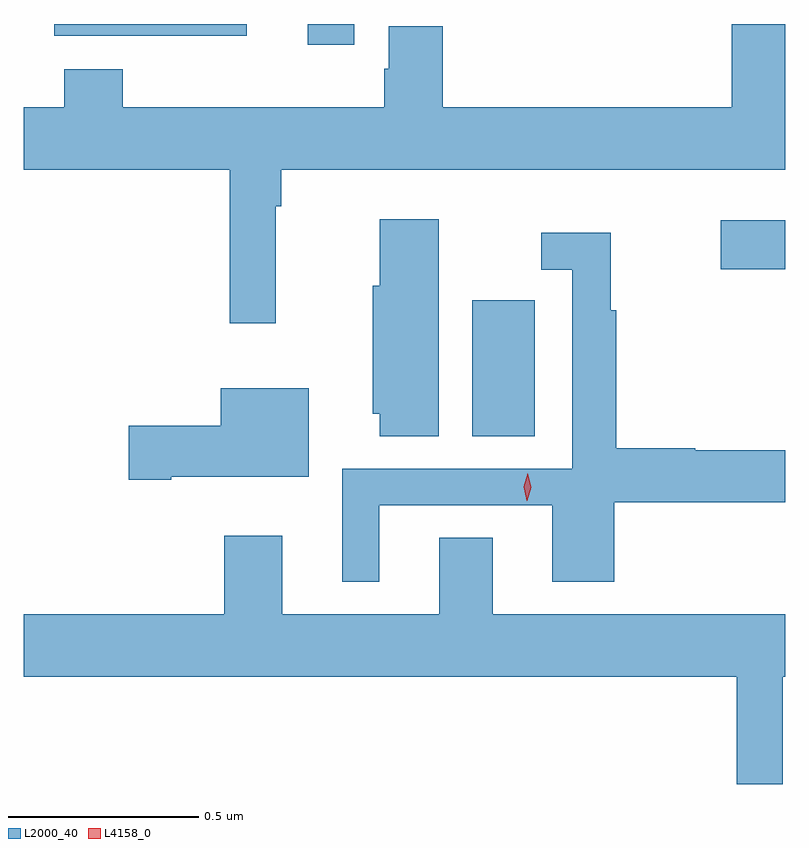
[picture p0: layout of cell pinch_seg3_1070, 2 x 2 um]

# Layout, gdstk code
import gdstk
lib = gdstk.Library(unit=1e-6, precision=1e-09)
def R(c, l, rs):  # rectangles x0, y0, x1, y1
    for r in rs: c.add(gdstk.rectangle(r[:2], r[2:], *l))
def P(c, l, *ps):  # polygons
    for p in ps: c.add(gdstk.Polygon(p, *l))
L2000_40 = (2000, 40)
L4158_0 = (4158, 0)

pinch_seg3_1070 = lib.new_cell('pinch_seg3_1070')
R(pinch_seg3_1070, L2000_40, [(322.526,694.888,322.69,695.245), (323.178,695.326,323.348,695.455), (322.094,695.916,322.216,695.97), (321.428,695.939,321.934,695.97)])
P(pinch_seg3_1070, L2000_40, [(322.01,695.492),(322.025,695.492),(322.025,695.588),(323.348,695.588),(323.348,695.97),(323.207,695.97),(323.207,695.752),(322.448,695.752),(322.448,695.964),(322.307,695.964),(322.307,695.853),(322.295,695.853),(322.295,695.752),(321.608,695.752),(321.608,695.851),(321.455,695.851),(321.455,695.752),(321.348,695.752),(321.348,695.588),(321.889,695.588),(321.889,695.184),(322.01,695.184)],
  [(322.438,695.458),(322.283,695.458),(322.283,695.283),(322.265,695.283),(322.265,694.947),(322.283,694.947),(322.283,694.888),(322.438,694.888)],
  [(322.282,694.707),(322.736,694.707),(322.736,694.506),(322.898,694.506),(322.898,694.714),(323.348,694.714),(323.348,694.851),(323.111,694.851),(323.111,694.856),(322.904,694.856),(322.904,695.218),(322.889,695.218),(322.889,695.422),(322.707,695.422),(322.707,695.325),(322.788,695.325),(322.788,694.803),(322.184,694.803),(322.184,694.506),(322.282,694.506)],
  [(321.736,694.781),(322.096,694.781),(322.096,695.014),(321.866,695.014),(321.866,694.916),(321.624,694.916),(321.624,694.774),(321.736,694.774)],
  [(323.341,694.256),(323.348,694.256),(323.348,694.42),(322.579,694.42),(322.579,694.622),(322.439,694.622),(322.439,694.42),(322.027,694.42),(322.027,694.627),(321.875,694.627),(321.875,694.42),(321.348,694.42),(321.348,694.256),(323.22,694.256),(323.22,693.975),(323.341,693.975)])
P(pinch_seg3_1070, L4158_0, [(322.669,694.719),(322.661,694.755),(322.672,694.791),(322.672,694.791),(322.672,694.791),(322.681,694.754),(322.67,694.719),(322.67,694.719)])

lib.write_gds('pinch_seg3_1070.gds')
